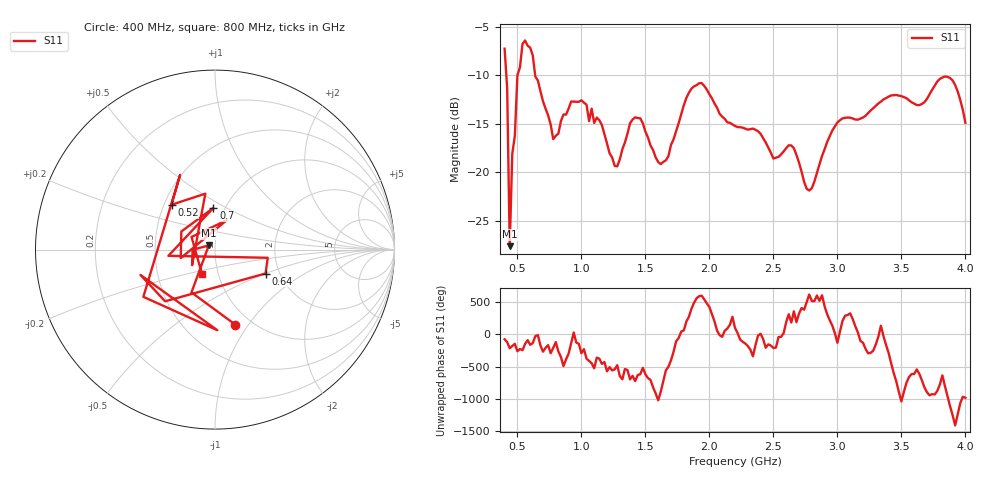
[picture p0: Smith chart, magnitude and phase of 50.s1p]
!Created with skrf (http://scikit-rf.org).
# Hz S RI R 50.0
!freq ReS11 ImS11
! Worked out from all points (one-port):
!   181 points, 400 MHz to 4 GHz, reference 50 ohm
!   lowest |S11| = -27.6 dB at 440 MHz (marker M1), VSWR 1.09, Z = 46.6 + j2.18 ohm
!   |S11| at or under -10 dB: 413.6 MHz to 500 MHz (86.43 MHz wide, 18.9 % of centre); 638.8 MHz to end of sweep
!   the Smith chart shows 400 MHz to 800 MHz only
!   S11 on the Smith chart (normalised r, x): 400 MHz: 0.85, -0.87; 520 MHz: 0.55, +0.31; 640 MHz: 1.69, -0.50; 700 MHz: 0.88, +0.43; 800 MHz: 0.84, -0.23
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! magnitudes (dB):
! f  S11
! 400 MHz  -7.3
! 420 MHz  -11.3
! 440 MHz  -27.6
! 460 MHz  -18.1
! 480 MHz  -16.2
! 500 MHz  -10.0
! 520 MHz  -9.2
! 560 MHz  -6.4
! 640 MHz  -10.1
! 700 MHz  -12.7
! 800 MHz  -16.2
! 860 MHz  -14.0
! 1 GHz  -12.6
! 1.26 GHz  -19.3
! 1.3 GHz  -18.7
! 1.42 GHz  -14.3
! 1.62 GHz  -19.1
! 1.76 GHz  -14.9
! 1.94 GHz  -10.8
! 2.2 GHz  -15.2
! 2.5 GHz  -18.6
! 2.66 GHz  -17.5
! 2.78 GHz  -21.9
! 2.96 GHz  -15.7
! 3.1 GHz  -14.4
! 3.56 GHz  -12.6
! 3.86 GHz  -10.2
! 4 GHz  -14.9
